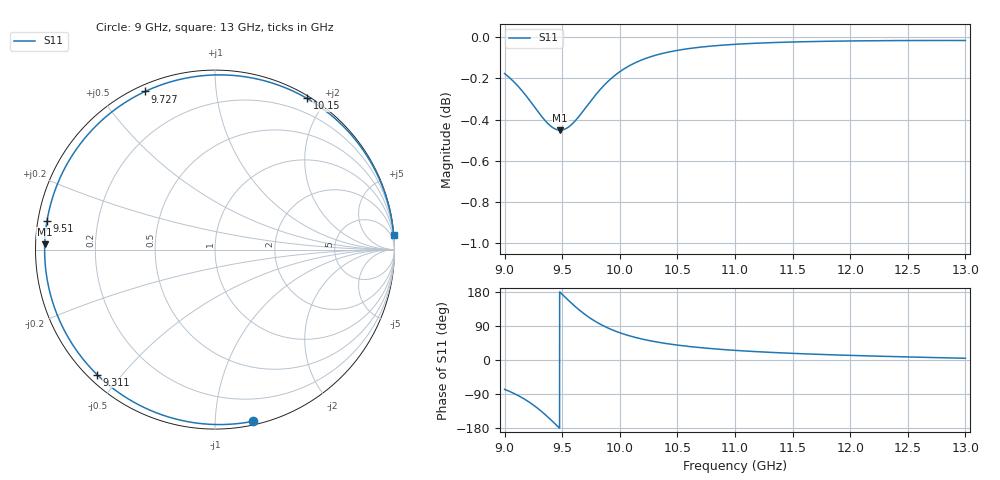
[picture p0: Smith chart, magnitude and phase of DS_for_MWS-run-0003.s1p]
! TOUCHSTONE file generated by CST DESIGN STUDIO
! Date and time: Tue Feb  4 14:05:34 2025
! Project name: C:\Work\MatlabApps\UnitCellOptimizationMatlab\CST\unitcell.cst
! Tree item: Tasks\Sweep1\SPara1\S-Parameters
! Header version: 2024
! Port assignment regex: !\s*Touchstone port\s*([0-9]+)\s*=\s*(CST MWS port|CST DES external port|CST DES block port)\s*(.+)\s* \(\"(.*)\"\)(\s*mode\s*([0-9]+))?.*
! Touchstone port assignment:
! Touchstone port 1 = CST DES external port 1 ("")
# GHz S MA R 50
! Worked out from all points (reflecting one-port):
!   4001 points, 9 GHz to 13 GHz, reference 50 ohm
!   lowest |S11| = -0.5 dB at 9.483 GHz (marker M1), VSWR 38.47, Z = 1.3 + j0.758 ohm
!   phase of S11 starts at -77 deg and turns -278 deg over the sweep
!   S11 on the Smith chart (normalised r, x): 9 GHz: 0.03, -1.25; 9.311 GHz: 0.03, -0.43; 9.51 GHz: 0.03, +0.09; 9.727 GHz: 0.03, +0.65; 10.15 GHz: 0.03, +1.78; 13 GHz: 1, +25
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9  0.9799 -77.5
9.079  0.9754 -87.9
9.177  0.9685 -104.0
9.246  0.9629 -118.0
9.311  0.9575 -133.3
9.356  0.9541 -145.1
9.404  0.9513 -158.5
9.444  0.9498 -170.2
9.483  0.9493 178.3
9.5  0.9494 173.2
9.51  0.9496 170.2
9.562  0.9513 155.1
9.622  0.9549 138.7
9.674  0.9589 125.7
9.727  0.9632 113.8
9.782  0.9676 102.9
9.843  0.9721 92.5
9.92  0.9769 81.4
10  0.9809 71.9
10.146  0.9862 58.7
10.306  0.9899 48.3
10.5  0.9927 39.3
10.722  0.9946 32.0
11  0.996 25.4
11.5  0.9973 17.5
12  0.9979 12.2
12.5  0.9981 8.1
13  0.9982 4.6
